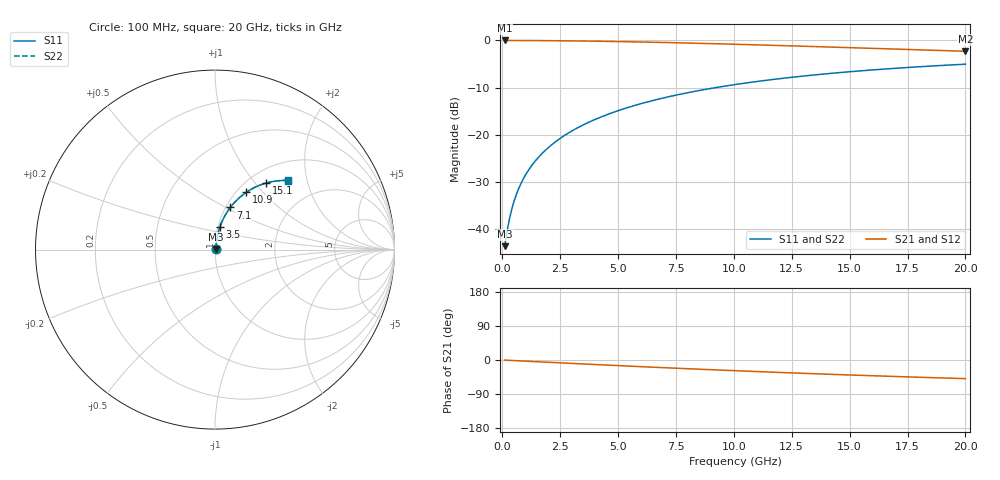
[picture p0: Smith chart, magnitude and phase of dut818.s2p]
! Touchstone file exported from HFSS 2024.1.0
!  File:  C:/UserFiles/LocalFiles/RDL_TSV_Batchsim/temp_RDL_top_818_1779854414.aedt
!  Generated:  12:02:29 PM May 27, 2026
!  Design:  RDL_top
!  Project:  temp_RDL_top_818_1779854414
!  Setup:  Setup1
!  Solution:  Sweep
! Variables:
!  dtsv = 10.80580581um
!  hbump = 3um
!  htsv = 93.2um
!  ldown = 100um
!  lrdl = 609.73um
!  p = 40
!  p1 = 58.22um
!  rhole = 1um
!  t = 450um
!  tdown = 3.915915916um
!  trdl = 3.71um
!  wdown = 15.38538539um
!  wrdl = 10.63um
# GHz S MA R 50.000000
! Terminal data exported
! Port[1] = Box2_T1
! Port[2] = Box2_T2
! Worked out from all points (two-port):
!   200 points, 100 MHz to 20 GHz, reference 50 ohm
!   highest |S21| = -0.05 dB at 100 MHz (marker M1); lowest = -2.3 dB at 20 GHz (marker M2)
!   |S21| within 3 dB of the highest: start of sweep to end of sweep
!   lowest |S11| = -43.5 dB at 100 MHz (marker M3), VSWR 1.01, Z = 50.6 + j0.38 ohm
!   |S11| at or under -10 dB: start of sweep to 9.237 GHz
!   |S22| runs from -43.5 to -5.1 dB; largest |S21 - S12| = 3.5e-15
!   S11 on the Smith chart (normalised r, x): 100 MHz: 1.01, +0.01; 3.5 GHz: 1.02, +0.26; 7.1 GHz: 1.05, +0.53; 10.9 GHz: 1.11, +0.81; 15.1 GHz: 1.20, +1.14; 20 GHz: 1.37, +1.53
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0.1  0.006654 34.4  0.9945 -0.3  0.9945 -0.3  0.006654 34.4
! Gamma 0 0 0 0
! Port Impedance 50 0 50 0
0.2  0.009361 53.4  0.9944 -0.6  0.9944 -0.6  0.009361 53.4
0.3  0.01262 62.9  0.9943 -0.9  0.9943 -0.9  0.01262 62.9
0.4  0.01607 68.3  0.9942 -1.2  0.9942 -1.2  0.01607 68.3
0.5  0.0196 71.7  0.994 -1.5  0.994 -1.5  0.0196 71.7
0.6  0.02317 73.9  0.9938 -1.8  0.9938 -1.8  0.02317 73.9
0.8  0.03035 76.6  0.9934 -2.4  0.9934 -2.4  0.03035 76.6
1.1  0.04118 78.6  0.9926 -3.3  0.9926 -3.3  0.04118 78.6
1.5  0.05564 79.7  0.9914 -4.6  0.9914 -4.6  0.05564 79.7
2.1  0.07734 79.8  0.989 -6.3  0.989 -6.3  0.07735 79.8
2.7  0.09896 79.2  0.986 -8.1  0.986 -8.1  0.09896 79.2
3.5  0.1275 77.9  0.9808 -10.5  0.9808 -10.5  0.1275 77.9
5  0.18 74.8  0.9682 -14.8  0.9682 -14.8  0.18 74.8
6.8  0.2403 70.7  0.9491 -19.8  0.9491 -19.8  0.2404 70.7
7.1  0.25 70.0  0.9455 -20.6  0.9455 -20.6  0.2501 70.0
8.5  0.294 66.8  0.9279 -24.3  0.9279 -24.3  0.2941 66.8
10.1  0.3413 63.1  0.9062 -28.4  0.9062 -28.4  0.3414 63.1
10.9  0.3637 61.3  0.8949 -30.3  0.8949 -30.3  0.3638 61.4
13.4  0.4279 56.0  0.8585 -36.1  0.8585 -36.1  0.4281 56.0
15.1  0.4667 52.5  0.8335 -39.7  0.8335 -39.7  0.4669 52.6
16.7  0.4998 49.5  0.8103 -43.0  0.8103 -43.0  0.5 49.5
20  0.5582 43.6  0.7643 -49.2  0.7643 -49.2  0.5584 43.6
